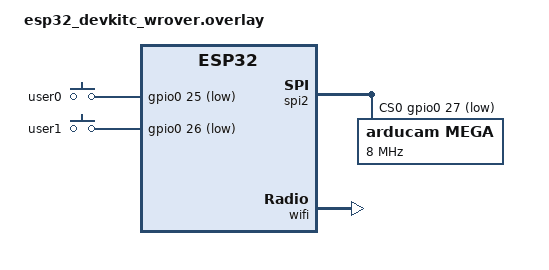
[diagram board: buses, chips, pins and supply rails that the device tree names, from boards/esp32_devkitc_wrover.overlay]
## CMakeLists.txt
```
# Copyright (c) 2022-2023 Golioth, Inc.
# SPDX-License-Identifier: Apache-2.0

cmake_minimum_required(VERSION 3.20.0)

# Conditionally add NCS/Zephyr-specific config
set(NCS_BOARD_LIST "nrf9160dk_nrf9160_ns")

if (BOARD IN_LIST NCS_BOARD_LIST)
    list(APPEND EXTRA_CONF_FILE prj-ncs.conf)
else()
    list(APPEND EXTRA_CONF_FILE prj-zephyr.conf)
endif(BOARD IN_LIST NCS_BOARD_LIST)

find_package(Zephyr REQUIRED HINTS $ENV{ZEPHYR_BASE})

project(example_upload_image)

target_sources(app PRIVATE
    src/main.c
    src/arducam/camera.c
    src/arducam/spi_hal.c
)

# Use the external ArducamMega library with the HAL in this project
set(ARDUCAM_MEGA_DIR "${CMAKE_CURRENT_LIST_DIR}/../deps/modules/lib/arducam-mega")
target_sources(app PRIVATE ${ARDUCAM_MEGA_DIR}/src/Arducam/ArducamCamera.c)
set_source_files_properties(${ARDUCAM_MEGA_DIR}/src/Arducam/ArducamCamera.c
                            PROPERTIES
                            COMPILE_FLAGS "-include ${CMAKE_SOURCE_DIR}/src/arducam/zephyrHal.h")
include_directories(${ARDUCAM_MEGA_DIR}/src)
```

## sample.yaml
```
# Copyright (c) 2024 Golioth, Inc.
# SPDX-License-Identifier: Apache-2.0

sample:
  description: Golioth Example Upload Image
  name: example_upload_image
common:
  harness: net
  platform_allow: >
    nrf9160dk_nrf9160_ns
  tags: golioth
```

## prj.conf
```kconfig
# Copyright (c) 2024 Golioth, Inc.
# SPDX-License-Identifier: Apache-2.0

# Enable Golioth Firmware SDK
CONFIG_GOLIOTH_FIRMWARE_SDK=y

# Golioth services used in this app
CONFIG_GOLIOTH_FW_UPDATE=y
CONFIG_GOLIOTH_RPC=y
CONFIG_GOLIOTH_SETTINGS=y
CONFIG_GOLIOTH_STREAM=y
CONFIG_LOG_BACKEND_GOLIOTH=y

# Enable common sample library
CONFIG_GOLIOTH_SAMPLE_COMMON=y

# Configure Golioth SDK dependencies
CONFIG_EVENTFD_MAX=14
CONFIG_LOG_PROCESS_THREAD_STACK_SIZE=1536
CONFIG_MBEDTLS_ENABLE_HEAP=y
CONFIG_MBEDTLS_HEAP_SIZE=10240

CONFIG_NETWORKING=y
CONFIG_NET_IPV4=y
CONFIG_POSIX_MAX_FDS=23

# Application
CONFIG_MAIN_STACK_SIZE=2048
CONFIG_SYSTEM_WORKQUEUE_STACK_SIZE=2048
CONFIG_NET_LOG=y
CONFIG_NET_SHELL=y
CONFIG_REBOOT=y

# Flash memory (etc.) for firmware upgrade
CONFIG_FLASH=y
CONFIG_FLASH_MAP=y
CONFIG_NVS=y
CONFIG_STREAM_FLASH=y
CONFIG_IMG_MANAGER=y
CONFIG_IMG_ERASE_PROGRESSIVELY=y
CONFIG_REBOOT=y

# The rest of the runtime credentials config
CONFIG_SETTINGS=y
CONFIG_SETTINGS_RUNTIME=y
CONFIG_GOLIOTH_SAMPLE_PSK_SETTINGS=y
CONFIG_GOLIOTH_SAMPLE_SETTINGS_AUTOLOAD=y
CONFIG_GOLIOTH_SAMPLE_SETTINGS_SHELL=y

# Enable SPI for camera
CONFIG_SPI=y

# Firmware version used in DFU process
CONFIG_MCUBOOT_IMGTOOL_SIGN_VERSION="0.1.0"
```

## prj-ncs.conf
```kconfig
# Golioth Firmware SDK config unique to NCS (not in Zephyr)

CONFIG_MBEDTLS_SSL_IN_CONTENT_LEN=2048
CONFIG_MBEDTLS_SSL_OUT_CONTENT_LEN=2048
```

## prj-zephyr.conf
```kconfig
# Golioth Firmware SDK config unique to Zephyr (not in NCS)

CONFIG_MBEDTLS_SSL_MAX_CONTENT_LEN=2048
```

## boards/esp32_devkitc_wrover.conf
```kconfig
CONFIG_WIFI=y
CONFIG_HEAP_MEM_POOL_SIZE=51200

CONFIG_NET_L2_ETHERNET=y

CONFIG_NEWLIB_LIBC=y

CONFIG_NET_DHCPV4=y

CONFIG_MBEDTLS_ENTROPY_ENABLED=y
CONFIG_MBEDTLS_KEY_EXCHANGE_ECDHE_ECDSA_ENABLED=y
CONFIG_MBEDTLS_ECP_ALL_ENABLED=y

CONFIG_ESP32_WIFI_STA_AUTO_DHCPV4=y

CONFIG_NET_L2_WIFI_SHELL=y
CONFIG_GOLIOTH_SAMPLE_WIFI=y

# Runtime credentials for WiFi
CONFIG_GOLIOTH_SAMPLE_WIFI_SETTINGS=y
```

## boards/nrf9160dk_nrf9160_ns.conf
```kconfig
# Copyright (c) 2023 Golioth, Inc.
# SPDX-License-Identifier: Apache-2.0

# General config
CONFIG_HEAP_MEM_POOL_SIZE=4096
CONFIG_NEWLIB_LIBC=y

# Networking
CONFIG_NET_SOCKETS_OFFLOAD=y
CONFIG_NET_IPV6=y
CONFIG_NET_IPV6_NBR_CACHE=n
CONFIG_NET_IPV6_MLD=n

# Increase native TLS socket implementation, so that it is chosen instead of
# offloaded nRF91 sockets
CONFIG_NET_SOCKETS_TLS_PRIORITY=35

# Modem library
CONFIG_NRF_MODEM_LIB=y
CONFIG_NRF_MODEM_LIB_ON_FAULT_APPLICATION_SPECIFIC=y

# LTE connectivity with network connection manager
CONFIG_LTE_CONNECTIVITY=y
CONFIG_LTE_CONNECTIVITY_AUTO_CONNECT=y
CONFIG_NET_CONNECTION_MANAGER=y
CONFIG_NET_CONNECTION_MANAGER_MONITOR_STACK_SIZE=1024

# Add Logs for LTE Link Handler
CONFIG_GOLIOTH_SAMPLE_NRF91_LTE_MONITOR=y

# Disable options y-selected by NCS for no good reason
CONFIG_MBEDTLS_KEY_EXCHANGE_DHE_PSK_ENABLED=n
CONFIG_MBEDTLS_KEY_EXCHANGE_DHE_RSA_ENABLED=n

# Add Network Info Support
CONFIG_MODEM_INFO=y

# Generate MCUboot compatible images
CONFIG_BOOTLOADER_MCUBOOT=y
```

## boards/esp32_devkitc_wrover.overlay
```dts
/*
 * Copyright (c) 2024 Golioth, Inc.
 *
 * SPDX-License-Identifier: Apache-2.0
 */

/ {
  aliases {
    sw0 = &user0;
    sw1 = &user1;
  };

  gpio_keys {
    compatible = "gpio-keys";
    user0: user0 {
      gpios = <&gpio0 25 (GPIO_PULL_UP | GPIO_ACTIVE_LOW)>;
    };
    user1: user1 {
      gpios = <&gpio0 26 (GPIO_PULL_UP | GPIO_ACTIVE_LOW)>;
    };
  };
};

&spi2 {
  status = "okay";
  cs-gpios = <&gpio0 27 GPIO_ACTIVE_LOW>;
  arducam: arducam@0 {
    compatible = "arducam,mega";
    reg = <0>;
    spi-max-frequency = <8000000>;
  };
};

&wifi {
  status = "okay";
};

&pinctrl {
  /* We must remove the CS pin so the the ESP32 hardware doesn't
   * drive it, overriding the library control
   */
  spim2_default: spim2_default {
    group1 {
      pinmux = <SPIM2_MISO_GPIO12>, <SPIM2_SCLK_GPIO14>;
    };
    group2 {
      pinmux = <SPIM2_MOSI_GPIO13>;
      output-low;
    };
  };
};
```

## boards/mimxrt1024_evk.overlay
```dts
/*
 * Copyright (c) 2024 Golioth, Inc.
 *
 * SPDX-License-Identifier: Apache-2.0
 */

/ {
  aliases {
    sw1 = &user1;
  };

  gpio_keys {
    compatible = "gpio-keys";
    user1: user1 {
      gpios = <&gpio1 26 (GPIO_PULL_UP | GPIO_ACTIVE_LOW)>;
    };
  };
};

&lpspi3 {
  status = "okay";

  pinctrl-0 = < &pinmux_lpspi3 >;
  pinctrl-names = "default";
  cs-gpios = <&gpio1 29 GPIO_ACTIVE_LOW>;

  arducam: arducam@0 {
    compatible = "arducam,mega";
    reg = <0>;
    spi-max-frequency = <8000000>;
  };
};

&pinctrl {
  pinmux_lpspi3: pinmux_lpspi3 {
    group0 {
      pinmux = <&iomuxc_gpio_ad_b1_12_lpspi3_sck>,
        <&iomuxc_gpio_ad_b1_13_lpspi3_pcs0>,
        <&iomuxc_gpio_ad_b1_14_lpspi3_sdo>,
        <&iomuxc_gpio_ad_b1_15_lpspi3_sdi>;
      drive-strength = "r0-6";
      slew-rate = "slow";
      nxp,speed = "100-mhz";
    };
  };
};
```

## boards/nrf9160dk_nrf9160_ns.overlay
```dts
/*
 * Copyright (c) 2024 Golioth, Inc.
 *
 * SPDX-License-Identifier: Apache-2.0
 */

&arduino_spi {
	status = "okay";

        arducam: arducam@0 {
                compatible = "arducam,mega";
                reg = <0>;
                spi-max-frequency = <1600000>;
        };
};
```

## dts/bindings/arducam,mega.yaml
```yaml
# Copyright (c) 2024 Golioth, Inc.
# SPDX-License-Identifier: Apache-2.0

description: |
  The Arducam Mega is a digital camera with an SPI interface.

  Add the Arducam as a subnode of an SPI peripheral:

  &spi2 {
    status = "okay";
    cs-gpios = <&gpio0 15 GPIO_ACTIVE_HIGH>;
    arducam: arducam@0 {
      compatible = "arducam,mega";
      reg = <0>;
      spi-max-frequency = <8000000>;
    };
  };

  Above:

  - A Chip-select pin has been specified for spi2 using the
    cs-gpios property. The cs-gpio may be omitted if it is
    already set in the board definition.

  Note:

  - The library controls the CS pin. For boards that have
    hardware-controlled chip-select it is necessary to remove
    the hardware-based CS assignment using pinctrl. The ESP32
    is one example of this.

compatible: "arducam,mega"

include: [spi-device.yaml]
```

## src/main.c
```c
/*
 * Copyright (c) 2022-2023 Golioth, Inc.
 *
 * SPDX-License-Identifier: Apache-2.0
 */

#include <zephyr/logging/log.h>
LOG_MODULE_REGISTER(example_upload_image, LOG_LEVEL_DBG);

#include <golioth/client.h>
#include <golioth/fw_update.h>
#include <golioth/rpc.h>
#include <golioth/settings.h>
#include <golioth/stream.h>
#include <samples/common/net_connect.h>
#include <samples/common/sample_credentials.h>
#include <zephyr/kernel.h>
#include <zephyr/device.h>
#include <zephyr/drivers/gpio.h>

#include "fables.h"
#include "arducam/camera.h"

/* Current firmware version; update in prj.conf or via build argument */
static const char *_current_version = CONFIG_MCUBOOT_IMGTOOL_SIGN_VERSION;

static struct golioth_client *client;

/* Program flow control */
static k_tid_t _system_thread = 0;
static volatile bool allow_trigger = false;
K_SEM_DEFINE(connected, 0, 1);

K_SEM_DEFINE(image_upload, 0, 1);
K_SEM_DEFINE(text_upload, 0, 1);

struct k_poll_event events[] = {
    K_POLL_EVENT_STATIC_INITIALIZER(K_POLL_TYPE_SEM_AVAILABLE,
                                    K_POLL_MODE_NOTIFY_ONLY,
                                    &image_upload,
                                    0),
    K_POLL_EVENT_STATIC_INITIALIZER(K_POLL_TYPE_SEM_AVAILABLE,
                                    K_POLL_MODE_NOTIFY_ONLY,
                                    &text_upload,
                                    0),
};

/* Device Settings Configuration */
static int32_t _loop_delay_s = 5;
#define LOOP_DELAY_S_MAX 43200
#define LOOP_DELAY_S_MIN 0

/* Button Configuration */
static const struct gpio_dt_spec btn1 = GPIO_DT_SPEC_GET(DT_ALIAS(sw0), gpios);
static const struct gpio_dt_spec btn2 = GPIO_DT_SPEC_GET(DT_ALIAS(sw1), gpios);
static struct gpio_callback btn1_cb_data;
static struct gpio_callback btn2_cb_data;

struct block_upload_source
{
    uint8_t *buf;
    size_t len;
};

static void wake_system_thread(void)
{
    k_wakeup(_system_thread);
}

static void on_client_event(struct golioth_client *client,
                            enum golioth_client_event event,
                            void *arg)
{
    bool is_connected = (event == GOLIOTH_CLIENT_EVENT_CONNECTED);

    if (is_connected)
    {
        k_sem_give(&connected);
    }
    LOG_INF("Golioth client %s", is_connected ? "connected" : "disconnected");
}

static enum golioth_settings_status on_loop_delay_setting(int32_t new_value, void *arg)
{
    _loop_delay_s = new_value;
    LOG_INF("Set loop delay to %i seconds", new_value);
    wake_system_thread();
    return GOLIOTH_SETTINGS_SUCCESS;
}

static int app_settings_register(struct golioth_client *client)
{
    struct golioth_settings *settings = golioth_settings_init(client);

    int err = golioth_settings_register_int_with_range(settings,
                                                       "LOOP_DELAY_S",
                                                       LOOP_DELAY_S_MIN,
                                                       LOOP_DELAY_S_MAX,
                                                       on_loop_delay_setting,
                                                       NULL);

    if (err)
    {
        LOG_ERR("Failed to register settings callback: %d", err);
    }

    return err;
}

/* Callback invoked by the Golioth SDK to read the next block of data
   data to send to Golioth */
static enum golioth_status block_upload_read_chunk(uint32_t block_idx,
                                                   uint8_t *block_buffer,
                                                   size_t *block_size,
                                                   bool *is_last,
                                                   void *arg)
{
    size_t bu_max_block_size = *block_size;
    const struct block_upload_source *bu_source = arg;
    size_t bu_offset = block_idx * bu_max_block_size;
    size_t bu_size = bu_source->len - bu_offset;

    LOG_DBG("block-idx: %u bu_offset: %u bytes_remaining: %u", block_idx, bu_offset, bu_size);

    if (bu_offset >= bu_source->len)
    {
        LOG_ERR("Calculated offset is past end of buffer: %d", bu_offset);
        goto bu_error;
    }

    if (bu_size < 0)
    {
        LOG_ERR("Calculated size for next block is < 0: %d", bu_size);
        goto bu_error;
    }

    if (bu_size <= bu_max_block_size)
    {
        *block_size = bu_size;
        *is_last = true;
    }

    memcpy(block_buffer, bu_source->buf + bu_offset, *block_size);
    return GOLIOTH_OK;

bu_error:
    *block_size = 0;
    *is_last = true;

    return GOLIOTH_ERR_NO_MORE_DATA;
}

static int upload_txt_file(void)
{
    /* Test function that uses block upload with a .txt file */
    struct block_upload_source bu_ctx = {.buf = (uint8_t *) &fables, .len = fables_len};

    int err = golioth_stream_set_blockwise_sync(client,
                                                "file_upload",
                                                GOLIOTH_CONTENT_TYPE_OCTET_STREAM,
                                                block_upload_read_chunk,
                                                &bu_ctx);

    return err;
}

void button_pressed(const struct device *dev, struct gpio_callback *cb, uint32_t pins)
{

    if (allow_trigger)
    {
        allow_trigger = false;
        LOG_DBG("Button %d pressed at %" PRIu32, pins, k_cycle_get_32());

        if (cb == &btn1_cb_data)
        {
            k_sem_give(&image_upload);
        }
        else if (cb == &btn2_cb_data)
        {
            k_sem_give(&text_upload);
        }
    }
}

void init_buttons(void)
{
    int ret;

    LOG_INF("Setup buttons");

    const struct gpio_dt_spec *button[] = {&btn1, &btn2};

    for (uint8_t i = 0; i < ARRAY_SIZE(button); i++)
    {
        if (!gpio_is_ready_dt(button[i]))
        {
            LOG_ERR("Error: button device %s is not ready", button[i]->port->name);
            continue;
        }

        ret = gpio_pin_configure_dt(button[i], GPIO_INPUT);
        if (ret != 0)
        {
            LOG_ERR("Error %d: failed to configure %s pin %d",
                    ret,
                    button[i]->port->name,
                    button[i]->pin);
            continue;
        }

        ret = gpio_pin_interrupt_configure_dt(button[i], GPIO_INT_EDGE_TO_ACTIVE);
        if (ret != 0)
        {
            LOG_ERR("Error %d: failed to configure interrupt on %s pin %d",
                    ret,
                    button[i]->port->name,
                    button[i]->pin);
            continue;
        }

        LOG_INF("Set up button at %s pin %d", button[i]->port->name, button[i]->pin);
    }

    gpio_init_callback(&btn1_cb_data, button_pressed, BIT(btn1.pin));
    gpio_init_callback(&btn2_cb_data, button_pressed, BIT(btn2.pin));
    gpio_add_callback(btn1.port, &btn1_cb_data);
    gpio_add_callback(btn2.port, &btn2_cb_data);
}

static enum golioth_rpc_status on_capture_image(zcbor_state_t *request_params_array,
                                                zcbor_state_t *response_detail_map,
                                                void *callback_arg)
{

    if (allow_trigger)
    {
        allow_trigger = false;
        k_sem_give(&image_upload);
        return GOLIOTH_RPC_OK;
    }

    return GOLIOTH_ERR_TIMEOUT;
}

enum golioth_status block_upload_camera_image_cb(uint32_t block_idx,
                                                 uint8_t *block_buffer,
                                                 size_t *block_size,
                                                 bool *is_last,
                                                 void *arg)
{
    int err = 0;

    if (!arg)
    {
        LOG_ERR("arg was NULL but should have been pointer to camera_module struct");
        err = -EAGAIN;
        goto error_camera_block_upload;
    }

    size_t bytes_remaining;
    err = camera_get_next_block(arg, block_buffer, block_size, is_last, &bytes_remaining);

    if (err)
    {
        goto error_camera_block_upload;
    }

    if ((*block_size == 0) && (!*is_last))
    {

        LOG_ERR("Received 0 bytes from camera but block is not marked as last.");
        err = -ENODATA;
        goto error_camera_block_upload;
    }

    LOG_DBG("Uploading block_id: %u block_size: %u is_last: %d Bytes remaining: %u",
            block_idx,
            *block_size,
            *is_last,
            bytes_remaining);

    return 0;

error_camera_block_upload:
    *block_size = 0;
    *is_last = 1;
    return err;
}

int main(void)
{
    LOG_DBG("Start Golioth example_upload_image");
    LOG_INF("Firmware version: %s", CONFIG_MCUBOOT_IMGTOOL_SIGN_VERSION);

    LOG_DBG("Initializing camera...");
    struct camera_module *cam_mod = camera_init();
    if (!cam_mod)
    {
        LOG_ERR("Camera init failed.");
        return -ENODEV;
    }
    else
    {
        LOG_DBG("Camera init complete!");
    }

    /* Setup buttons */
    init_buttons();

    /* Get system thread id so loop delay change event can wake main */
    _system_thread = k_current_get();

    /* Start the network connection */
    net_connect();

    /* Get the client configuration from auto-loaded settings */
    const struct golioth_client_config *client_config = golioth_sample_credentials_get();

    /* Create and start a Golioth Client */
    client = golioth_client_create(client_config);

    /* Register Golioth event callback */
    golioth_client_register_event_callback(client, on_client_event, NULL);

    /* Initialize Golioth OTA firmware update service */
    golioth_fw_update_init(client, _current_version);

    /* Register Golioth RPC */
    struct golioth_rpc *rpc = golioth_rpc_init(client);
    golioth_rpc_register(rpc, "capture_image", on_capture_image, NULL);

    /* Register Golioth Settings service */
    app_settings_register(client);

    /* Block until connected to Golioth */
    k_sem_take(&connected, K_FOREVER);
    k_msleep(2000); /* allow connection logs to display */

    int err;
    allow_trigger = true;
    LOG_INF("###############################################");
    LOG_INF("# Press button 1 to capture and upload image. #");
    LOG_INF("###############################################");

    while (true)
    {
        int rc = k_poll(events, ARRAY_SIZE(events), K_FOREVER);

        if (rc == 0)
        {
            if (events[0].state == K_POLL_STATE_SEM_AVAILABLE)
            {
                k_sem_take(events[0].sem, K_NO_WAIT);

                camera_capture_image(cam_mod);
                err = golioth_stream_set_blockwise_sync(client,
                                                        "file_upload",
                                                        GOLIOTH_CONTENT_TYPE_OCTET_STREAM,
                                                        block_upload_camera_image_cb,
                                                        (void *) cam_mod);
                if (!err)
                {
                    LOG_INF("Image upload successful!");
                }
            }

            if (events[1].state == K_POLL_STATE_SEM_AVAILABLE)
            {
                k_sem_take(events[1].sem, K_NO_WAIT);

                err = upload_txt_file();
                if (err)
                {
                    LOG_ERR("Error during block upload: %d", err);
                }
                else
                {
                    LOG_INF("Block upload successful!");
                }
            }

            events[0].state = K_POLL_STATE_NOT_READY;
            events[1].state = K_POLL_STATE_NOT_READY;
            allow_trigger = true;
            LOG_INF("Press button 1 to capture and upload image.");
        }
    }
}
```

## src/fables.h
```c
unsigned char fables[] = {
  0x54, 0x68, 0x65, 0x20, 0x4c, 0x69, 0x6f, 0x6e, 0x20, 0x61, 0x6e, 0x64,
  0x20, 0x74, 0x68, 0x65, 0x20, 0x4d, 0x6f, 0x75, 0x73, 0x65, 0x0a, 0x62,
  0x79, 0x20, 0x41, 0x65, 0x73, 0x6f, 0x70, 0x0a, 0x0a, 0x41, 0x20, 0x4c,
  0x69, 0x6f, 0x6e, 0x20, 0x61, 0x73, 0x6c, 0x65, 0x65, 0x70, 0x20, 0x69,
  0x6e, 0x20, 0x68, 0x69, 0x73, 0x20, 0x6c, 0x61, 0x69, 0x72, 0x20, 0x77,
  0x61, 0x73, 0x20, 0x77, 0x61, 0x6b, 0x65, 0x64, 0x20, 0x75, 0x70, 0x20,
  0x62, 0x79, 0x20, 0x61, 0x20, 0x4d, 0x6f, 0x75, 0x73, 0x65, 0x20, 0x72,
  0x75, 0x6e, 0x6e, 0x69, 0x6e, 0x67, 0x20, 0x6f, 0x76, 0x65, 0x72, 0x20,
  0x68, 0x69, 0x73, 0x20, 0x66, 0x61, 0x63, 0x65, 0x2e, 0x20, 0x4c, 0x6f,
  0x73, 0x69, 0x6e, 0x67, 0x20, 0x68, 0x69, 0x73, 0x20, 0x74, 0x65, 0x6d,
  0x70, 0x65, 0x72, 0x20, 0x68, 0x65, 0x20, 0x73, 0x65, 0x69, 0x7a, 0x65,
  0x64, 0x20, 0x69, 0x74, 0x20, 0x77, 0x69, 0x74, 0x68, 0x20, 0x68, 0x69,
  0x73, 0x20, 0x70, 0x61, 0x77, 0x20, 0x61, 0x6e, 0x64, 0x20, 0x77, 0x61,
  0x73, 0x20, 0x61, 0x62, 0x6f, 0x75, 0x74, 0x20, 0x74, 0x6f, 0x20, 0x6b,
  0x69, 0x6c, 0x6c, 0x20, 0x69, 0x74, 0x2e, 0x20, 0x54, 0x68, 0x65, 0x20,
  0x4d, 0x6f, 0x75, 0x73, 0x65, 0x2c, 0x20, 0x74, 0x65, 0x72, 0x72, 0x69,
  0x66, 0x69, 0x65, 0x64, 0x2c, 0x20, 0x70, 0x69, 0x74, 0x65, 0x6f, 0x75,
  0x73, 0x6c, 0x79, 0x20, 0x65, 0x6e, 0x74, 0x72, 0x65, 0x61, 0x74, 0x65,
  0x64, 0x20, 0x68, 0x69, 0x6d, 0x20, 0x74, 0x6f, 0x20, 0x73, 0x70, 0x61,
  0x72, 0x65, 0x20, 0x69, 0x74, 0x73, 0x20, 0x6c, 0x69, 0x66, 0x65, 0x2e,
  0x20, 0xe2, 0x80, 0x9c, 0x50, 0x6c, 0x65, 0x61, 0x73, 0x65, 0x20, 0x6c,
  0x65, 0x74, 0x20, 0x6d, 0x65, 0x20, 0x67, 0x6f, 0x2c, 0xe2, 0x80, 0x9d,
  0x20, 0x69, 0x74, 0x20, 0x63, 0x72, 0x69, 0x65, 0x64, 0x2c, 0x20, 0xe2,
  0x80, 0x9c, 0x61, 0x6e, 0x64, 0x20, 0x6f, 0x6e, 0x65, 0x20, 0x64, 0x61,
  0x79, 0x20, 0x49, 0x20, 0x77, 0x69, 0x6c, 0x6c, 0x20, 0x72, 0x65, 0x70,
  0x61, 0x79, 0x20, 0x79, 0x6f, 0x75, 0x20, 0x66, 0x6f, 0x72, 0x20, 0x79,
  0x6f, 0x75, 0x72, 0x20, 0x6b, 0x69, 0x6e, 0x64, 0x6e, 0x65, 0x73, 0x73,
  0x2e, 0xe2, 0x80, 0x9d, 0x20, 0x54, 0x68, 0x65, 0x20, 0x69, 0x64, 0x65,
  0x61, 0x20, 0x6f, 0x66, 0x20, 0x73, 0x6f, 0x20, 0x69, 0x6e, 0x73, 0x69,
  0x67, 0x6e, 0x69, 0x66, 0x69, 0x63, 0x61, 0x6e, 0x74, 0x20, 0x61, 0x20,
  0x63, 0x72, 0x65, 0x61, 0x74, 0x75, 0x72, 0x65, 0x20, 0x65, 0x76, 0x65,
  0x72, 0x20, 0x62, 0x65, 0x69, 0x6e, 0x67, 0x20, 0x61, 0x62, 0x6c, 0x65,
  0x20, 0x74, 0x6f, 0x20, 0x64, 0x6f, 0x20, 0x61, 0x6e, 0x79, 0x74, 0x68,
  0x69, 0x6e, 0x67, 0x20, 0x66, 0x6f, 0x72, 0x20, 0x68, 0x69, 0x6d, 0x20,
  0x61, 0x6d, 0x75, 0x73, 0x65, 0x64, 0x20, 0x74, 0x68, 0x65, 0x20, 0x4c,
  0x69, 0x6f, 0x6e, 0x20, 0x73, 0x6f, 0x20, 0x6d, 0x75, 0x63, 0x68, 0x20,
  0x74, 0x68, 0x61, 0x74, 0x20, 0x68, 0x65, 0x20, 0x6c, 0x61, 0x75, 0x67,
  0x68, 0x65, 0x64, 0x20, 0x61, 0x6c, 0x6f, 0x75, 0x64, 0x2c, 0x20, 0x61,
  0x6e, 0x64, 0x20, 0x67, 0x6f, 0x6f, 0x64, 0x2d, 0x68, 0x75, 0x6d, 0x6f,
  0x75, 0x72, 0x65, 0x64, 0x6c, 0x79, 0x20, 0x6c, 0x65, 0x74, 0x20, 0x69,
  0x74, 0x20, 0x67, 0x6f, 0x2e, 0x20, 0x42, 0x75, 0x74, 0x20, 0x74, 0x68,
  0x65, 0x20, 0x4d, 0x6f, 0x75, 0x73, 0x65, 0xe2, 0x80, 0x99, 0x73, 0x20,
  0x63, 0x68, 0x61, 0x6e, 0x63, 0x65, 0x20, 0x63, 0x61, 0x6d, 0x65, 0x2c,
  0x20, 0x61, 0x66, 0x74, 0x65, 0x72, 0x20, 0x61, 0x6c, 0x6c, 0x2e, 0x20,
  0x4f, 0x6e, 0x65, 0x20, 0x64, 0x61, 0x79, 0x20, 0x74, 0x68, 0x65, 0x20,
  0x4c, 0x69, 0x6f, 0x6e, 0x20, 0x67, 0x6f, 0x74, 0x20, 0x65, 0x6e, 0x74,
  0x61, 0x6e, 0x67, 0x6c, 0x65, 0x64, 0x20, 0x69, 0x6e, 0x20, 0x61, 0x20,
  0x6e, 0x65, 0x74, 0x20, 0x77, 0x68, 0x69, 0x63, 0x68, 0x20, 0x68, 0x61,
  0x64, 0x20, 0x62, 0x65, 0x65, 0x6e, 0x20, 0x73, 0x70, 0x72, 0x65, 0x61,
  0x64, 0x20, 0x66, 0x6f, 0x72, 0x20, 0x67, 0x61, 0x6d, 0x65, 0x20, 0x62,
  0x79, 0x20, 0x73, 0x6f, 0x6d, 0x65, 0x20, 0x68, 0x75, 0x6e, 0x74, 0x65,
  0x72, 0x73, 0x2c, 0x20, 0x61, 0x6e, 0x64, 0x20, 0x74, 0x68, 0x65, 0x20,
  0x4d, 0x6f, 0x75, 0x73, 0x65, 0x20, 0x68, 0x65, 0x61, 0x72, 0x64, 0x20,
  0x61, 0x6e, 0x64, 0x20, 0x72, 0x65, 0x63, 0x6f, 0x67, 0x6e, 0x69, 0x73,
  0x65, 0x64, 0x20, 0x68, 0x69, 0x73, 0x20, 0x72, 0x6f, 0x61, 0x72, 0x73,
  0x20, 0x6f, 0x66, 0x20, 0x61, 0x6e, 0x67, 0x65, 0x72, 0x20, 0x61, 0x6e,
  0x64, 0x20, 0x72, 0x61, 0x6e, 0x20, 0x74, 0x6f, 0x20, 0x74, 0x68, 0x65,
  0x20, 0x73, 0x70, 0x6f, 0x74, 0x2e, 0x20, 0x57, 0x69, 0x74, 0x68, 0x6f,
  0x75, 0x74, 0x20, 0x6d, 0x6f, 0x72, 0x65, 0x20, 0x61, 0x64, 0x6f, 0x20,
  0x69, 0x74, 0x20, 0x73, 0x65, 0x74, 0x20, 0x74, 0x6f, 0x20, 0x77, 0x6f,
  0x72, 0x6b, 0x20, 0x74, 0x6f, 0x20, 0x67, 0x6e, 0x61, 0x77, 0x20, 0x74,
  0x68, 0x65, 0x20, 0x72, 0x6f, 0x70, 0x65, 0x73, 0x20, 0x77, 0x69, 0x74,
  0x68, 0x20, 0x69, 0x74, 0x73, 0x20, 0x74, 0x65, 0x65, 0x74, 0x68, 0x2c,
  0x20, 0x61, 0x6e, 0x64, 0x20, 0x73, 0x75, 0x63, 0x63, 0x65, 0x65, 0x64,
  0x65, 0x64, 0x20, 0x62, 0x65, 0x66, 0x6f, 0x72, 0x65, 0x20, 0x6c, 0x6f,
  0x6e, 0x67, 0x20, 0x69, 0x6e, 0x20, 0x73, 0x65, 0x74, 0x74, 0x69, 0x6e,
  0x67, 0x20, 0x74, 0x68, 0x65, 0x20, 0x4c, 0x69, 0x6f, 0x6e, 0x20, 0x66,
  0x72, 0x65, 0x65, 0x2e, 0x20, 0xe2, 0x80, 0x9c, 0x54, 0x68, 0x65, 0x72,
  0x65, 0x21, 0xe2, 0x80, 0x9d, 0x20, 0x73, 0x61, 0x69, 0x64, 0x20, 0x74,
  0x68, 0x65, 0x20, 0x4d, 0x6f, 0x75, 0x73, 0x65, 0x2c, 0x20, 0xe2, 0x80,
  0x9c, 0x79, 0x6f, 0x75, 0x20, 0x6c, 0x61, 0x75, 0x67, 0x68, 0x65, 0x64,
  0x20, 0x61, 0x74, 0x20, 0x6d, 0x65, 0x20, 0x77, 0x68, 0x65, 0x6e, 0x20,
  0x49, 0x20, 0x70, 0x72, 0x6f, 0x6d, 0x69, 0x73, 0x65, 0x64, 0x20, 0x49,
  0x20, 0x77, 0x6f, 0x75, 0x6c, 0x64, 0x20, 0x72, 0x65, 0x70, 0x61, 0x79,
  0x20, 0x79, 0x6f, 0x75, 0x3a, 0x20, 0x62, 0x75, 0x74, 0x20, 0x6e, 0x6f,
  0x77, 0x20, 0x79, 0x6f, 0x75, 0x20, 0x73, 0x65, 0x65, 0x2c, 0x20, 0x65,
  0x76, 0x65, 0x6e, 0x20, 0x61, 0x20, 0x4d, 0x6f, 0x75, 0x73, 0x65, 0x20,
  0x63, 0x61, 0x6e, 0x20, 0x68, 0x65, 0x6c, 0x70, 0x20, 0x61, 0x20, 0x4c,
  0x69, 0x6f, 0x6e, 0x2e, 0xe2, 0x80, 0x9d, 0x0a, 0x0a, 0x54, 0x68, 0x65,
  0x20, 0x4e, 0x6f, 0x72, 0x74, 0x68, 0x20, 0x57, 0x69, 0x6e, 0x64, 0x20,
  0x61, 0x6e, 0x64, 0x20, 0x74, 0x68, 0x65, 0x20, 0x53, 0x75, 0x6e, 0x0a,
  0x62, 0x79, 0x20, 0x41, 0x65, 0x73, 0x6f, 0x70, 0x0a, 0x0a, 0x41, 0x20,
  0x64, 0x69, 0x73, 0x70, 0x75, 0x74, 0x65, 0x20, 0x61, 0x72, 0x6f, 0x73,
  0x65, 0x20, 0x62, 0x65, 0x74, 0x77, 0x65, 0x65, 0x6e, 0x20, 0x74, 0x68,
  0x65, 0x20, 0x4e, 0x6f, 0x72, 0x74, 0x68, 0x20, 0x57, 0x69, 0x6e, 0x64,
  0x20, 0x61, 0x6e, 0x64, 0x20, 0x74, 0x68, 0x65, 0x20, 0x53, 0x75, 0x6e,
  0x2c, 0x20, 0x65, 0x61, 0x63, 0x68, 0x20, 0x63, 0x6c, 0x61, 0x69, 0x6d,
  0x69, 0x6e, 0x67, 0x20, 0x74, 0x68, 0x61, 0x74, 0x20, 0x68, 0x65, 0x20,
  0x77, 0x61, 0x73, 0x20, 0x73, 0x74, 0x72, 0x6f, 0x6e, 0x67, 0x65, 0x72,
  0x20, 0x74, 0x68, 0x61, 0x6e, 0x20, 0x74, 0x68, 0x65, 0x20, 0x6f, 0x74,
  0x68, 0x65, 0x72, 0x2e, 0x20, 0x41, 0x74, 0x20, 0x6c, 0x61, 0x73, 0x74,
  0x20, 0x74, 0x68, 0x65, 0x79, 0x20, 0x61, 0x67, 0x72, 0x65, 0x65, 0x64,
  0x20, 0x74, 0x6f, 0x20, 0x74, 0x72, 0x79, 0x20, 0x74, 0x68, 0x65, 0x69,
  0x72, 0x20, 0x70, 0x6f, 0x77, 0x65, 0x72, 0x73, 0x20, 0x75, 0x70, 0x6f,
  0x6e, 0x20, 0x61, 0x20, 0x74, 0x72, 0x61, 0x76, 0x65, 0x6c, 0x6c, 0x65,
  0x72, 0x2c, 0x20, 0x74, 0x6f, 0x20, 0x73, 0x65, 0x65, 0x20, 0x77, 0x68,
  0x69, 0x63, 0x68, 0x20, 0x63, 0x6f, 0x75, 0x6c, 0x64, 0x20, 0x73, 0x6f,
  0x6f, 0x6e, 0x65, 0x73, 0x74, 0x20, 0x73, 0x74, 0x72, 0x69, 0x70, 0x20,
  0x68, 0x69, 0x6d, 0x20, 0x6f, 0x66, 0x20, 0x68, 0x69, 0x73, 0x20, 0x63,
  0x6c, 0x6f, 0x61, 0x6b, 0x2e, 0x20, 0x54, 0x68, 0x65, 0x20, 0x4e, 0x6f,
  0x72, 0x74, 0x68, 0x20, 0x57, 0x69, 0x6e, 0x64, 0x20, 0x68, 0x61, 0x64,
  0x20, 0x74, 0x68, 0x65, 0x20, 0x66, 0x69, 0x72, 0x73, 0x74, 0x20, 0x74,
  0x72, 0x79, 0x3b, 0x20, 0x61, 0x6e, 0x64, 0x2c, 0x20, 0x67, 0x61, 0x74,
  0x68, 0x65, 0x72, 0x69, 0x6e, 0x67, 0x20, 0x75, 0x70, 0x20, 0x61, 0x6c,
  0x6c, 0x20, 0x68, 0x69, 0x73, 0x20, 0x66, 0x6f, 0x72, 0x63, 0x65, 0x20,
  0x66, 0x6f, 0x72, 0x20, 0x74, 0x68, 0x65, 0x20, 0x61, 0x74, 0x74, 0x61,
  0x63, 0x6b, 0x2c, 0x20, 0x68, 0x65, 0x20, 0x63, 0x61, 0x6d, 0x65, 0x20,
  0x77, 0x68, 0x69, 0x72, 0x6c, 0x69, 0x6e, 0x67, 0x20, 0x66, 0x75, 0x72,
  0x69, 0x6f, 0x75, 0x73, 0x6c, 0x79, 0x20, 0x64, 0x6f, 0x77, 0x6e, 0x20,
  0x75, 0x70, 0x6f, 0x6e, 0x20, 0x74, 0x68, 0x65, 0x20, 0x6d, 0x61, 0x6e,
  0x2c, 0x20, 0x61, 0x6e, 0x64, 0x20, 0x63, 0x61, 0x75, 0x67, 0x68, 0x74,
  0x20, 0x75, 0x70, 0x20, 0x68, 0x69, 0x73, 0x20, 0x63, 0x6c, 0x6f, 0x61,
  0x6b, 0x20, 0x61, 0x73, 0x20, 0x74, 0x68, 0x6f, 0x75, 0x67, 0x68, 0x20,
  0x68, 0x65, 0x20, 0x77, 0x6f, 0x75, 0x6c, 0x64, 0x20, 0x77, 0x72, 0x65,
  0x73, 0x74, 0x20, 0x69, 0x74, 0x20, 0x66, 0x72, 0x6f, 0x6d, 0x20, 0x68,
  0x69, 0x6d, 0x20, 0x62, 0x79, 0x20, 0x6f, 0x6e, 0x65, 0x20, 0x73, 0x69,
  0x6e, 0x67, 0x6c, 0x65, 0x20, 0x65, 0x66, 0x66, 0x6f, 0x72, 0x74, 0x3a,
  0x20, 0x62, 0x75, 0x74, 0x20, 0x74, 0x68, 0x65, 0x20, 0x68, 0x61, 0x72,
  0x64, 0x65, 0x72, 0x20, 0x68, 0x65, 0x20, 0x62, 0x6c, 0x65, 0x77, 0x2c,
  0x20, 0x74, 0x68, 0x65, 0x20, 0x6d, 0x6f, 0x72, 0x65, 0x20, 0x63, 0x6c,
  0x6f, 0x73, 0x65, 0x6c, 0x79, 0x20, 0x74, 0x68, 0x65, 0x20, 0x6d, 0x61,
  0x6e, 0x20, 0x77, 0x72, 0x61, 0x70, 0x70, 0x65, 0x64, 0x20, 0x69, 0x74,
  0x20, 0x72, 0x6f, 0x75, 0x6e, 0x64, 0x20, 0x68, 0x69, 0x6d, 0x73, 0x65,
  0x6c, 0x66, 0x2e, 0x20, 0x54, 0x68, 0x65, 0x6e, 0x20, 0x63, 0x61, 0x6d,
  0x65, 0x20, 0x74, 0x68, 0x65, 0x20, 0x74, 0x75, 0x72, 0x6e, 0x20, 0x6f,
  0x66, 0x20, 0x74, 0x68, 0x65, 0x20, 0x53, 0x75, 0x6e, 0x2e, 0x20, 0x41,
  0x74, 0x20, 0x66, 0x69, 0x72, 0x73, 0x74, 0x20, 0x68, 0x65, 0x20, 0x62,
  0x65, 0x61, 0x6d, 0x65, 0x64, 0x20, 0x67, 0x65, 0x6e, 0x74, 0x6c, 0x79,
  0x20, 0x75, 0x70, 0x6f, 0x6e, 0x20, 0x74, 0x68, 0x65, 0x20, 0x74, 0x72,
  0x61, 0x76, 0x65, 0x6c, 0x6c, 0x65, 0x72, 0x2c, 0x20, 0x77, 0x68, 0x6f,
  0x20, 0x73, 0x6f, 0x6f, 0x6e, 0x20, 0x75, 0x6e, 0x63, 0x6c, 0x61, 0x73,
  0x70, 0x65, 0x64, 0x20, 0x68, 0x69, 0x73, 0x20, 0x63, 0x6c, 0x6f, 0x61,
  0x6b, 0x20, 0x61, 0x6e, 0x64, 0x20, 0x77, 0x61, 0x6c, 0x6b, 0x65, 0x64,
  0x20, 0x6f, 0x6e, 0x20, 0x77, 0x69, 0x74, 0x68, 0x20, 0x69, 0x74, 0x20,
  0x68, 0x61, 0x6e, 0x67, 0x69, 0x6e, 0x67, 0x20, 0x6c, 0x6f, 0x6f, 0x73,
  0x65, 0x6c, 0x79, 0x20, 0x61, 0x62, 0x6f, 0x75, 0x74, 0x20, 0x68, 0x69,
  0x73, 0x20, 0x73, 0x68, 0x6f, 0x75, 0x6c, 0x64, 0x65, 0x72, 0x73, 0x3a,
  0x20, 0x74, 0x68, 0x65, 0x6e, 0x20, 0x68, 0x65, 0x20, 0x73, 0x68, 0x6f,
  0x6e, 0x65, 0x20, 0x66, 0x6f, 0x72, 0x74, 0x68, 0x20, 0x69, 0x6e, 0x20,
  0x68, 0x69, 0x73, 0x20, 0x66, 0x75, 0x6c, 0x6c, 0x20, 0x73, 0x74, 0x72,
  0x65, 0x6e, 0x67, 0x74, 0x68, 0x2c, 0x20, 0x61, 0x6e, 0x64, 0x20, 0x74,
  0x68, 0x65, 0x20, 0x6d, 0x61, 0x6e, 0x2c, 0x20, 0x62, 0x65, 0x66, 0x6f,
  0x72, 0x65, 0x20, 0x68, 0x65, 0x20, 0x68, 0x61, 0x64, 0x20, 0x67, 0x6f,
  0x6e, 0x65, 0x20, 0x6d, 0x61, 0x6e, 0x79, 0x20, 0x73, 0x74, 0x65, 0x70,
  0x73, 0x2c, 0x20, 0x77, 0x61, 0x73, 0x20, 0x67, 0x6c, 0x61, 0x64, 0x20,
  0x74, 0x6f, 0x20, 0x74, 0x68, 0x72, 0x6f, 0x77, 0x20, 0x68, 0x69, 0x73,
  0x20, 0x63, 0x6c, 0x6f, 0x61, 0x6b, 0x20, 0x72, 0x69, 0x67, 0x68, 0x74,
  0x20, 0x6f, 0x66, 0x66, 0x20, 0x61, 0x6e, 0x64, 0x20, 0x63, 0x6f, 0x6d,
  0x70, 0x6c, 0x65, 0x74, 0x65, 0x20, 0x68, 0x69, 0x73, 0x20, 0x6a, 0x6f,
  0x75, 0x72, 0x6e, 0x65, 0x79, 0x20, 0x6d, 0x6f, 0x72, 0x65, 0x20, 0x6c,
  0x69, 0x67, 0x68, 0x74, 0x6c, 0x79, 0x20, 0x63, 0x6c, 0x61, 0x64, 0x2e,
  0x0a, 0x0a, 0x54, 0x68, 0x65, 0x20, 0x46, 0x6f, 0x78, 0x20, 0x61, 0x6e,
  0x64, 0x20, 0x74, 0x68, 0x65, 0x20, 0x47, 0x72, 0x61, 0x70, 0x65, 0x73,
  0x0a, 0x62, 0x79, 0x20, 0x41, 0x65, 0x73, 0x6f, 0x70, 0x0a, 0x0a, 0x41,
  0x20, 0x68, 0x75, 0x6e, 0x67, 0x72, 0x79, 0x20, 0x46, 0x6f, 0x78, 0x20,
  0x73, 0x61, 0x77, 0x20, 0x73, 0x6f, 0x6d, 0x65, 0x20, 0x66, 0x69, 0x6e,
  0x65, 0x20, 0x62, 0x75, 0x6e, 0x63, 0x68, 0x65, 0x73, 0x20, 0x6f, 0x66,
  0x20, 0x47, 0x72, 0x61, 0x70, 0x65, 0x73, 0x20, 0x68, 0x61, 0x6e, 0x67,
  0x69, 0x6e, 0x67, 0x20, 0x66, 0x72, 0x6f, 0x6d, 0x20, 0x61, 0x20, 0x76,
  0x69, 0x6e, 0x65, 0x20, 0x74, 0x68, 0x61, 0x74, 0x20, 0x77, 0x61, 0x73,
  0x20, 0x74, 0x72, 0x61, 0x69, 0x6e, 0x65, 0x64, 0x20, 0x61, 0x6c, 0x6f,
  0x6e, 0x67, 0x20, 0x61, 0x20, 0x68, 0x69, 0x67, 0x68, 0x20, 0x74, 0x72,
  0x65, 0x6c, 0x6c, 0x69, 0x73, 0x2c, 0x20, 0x61, 0x6e, 0x64, 0x20, 0x64,
  0x69, 0x64, 0x20, 0x68, 0x69, 0x73, 0x20, 0x62, 0x65, 0x73, 0x74, 0x20,
  0x74, 0x6f, 0x20, 0x72, 0x65, 0x61, 0x63, 0x68, 0x20, 0x74, 0x68, 0x65,
  0x6d, 0x20, 0x62, 0x79, 0x20, 0x6a, 0x75, 0x6d, 0x70, 0x69, 0x6e, 0x67,
  0x20, 0x61, 0x73, 0x20, 0x68, 0x69, 0x67, 0x68, 0x20, 0x61, 0x73, 0x20,
  0x68, 0x65, 0x20, 0x63, 0x6f, 0x75, 0x6c, 0x64, 0x20, 0x69, 0x6e, 0x74,
  0x6f, 0x20, 0x74, 0x68, 0x65, 0x20, 0x61, 0x69, 0x72, 0x2e, 0x20, 0x42,
  0x75, 0x74, 0x20, 0x69, 0x74, 0x20, 0x77, 0x61, 0x73, 0x20, 0x61, 0x6c,
  0x6c, 0x20, 0x69, 0x6e, 0x20, 0x76, 0x61, 0x69, 0x6e, 0x2c, 0x20, 0x66,
  0x6f, 0x72, 0x20, 0x74, 0x68, 0x65, 0x79, 0x20, 0x77, 0x65, 0x72, 0x65,
  0x20, 0x6a, 0x75, 0x73, 0x74, 0x20, 0x6f, 0x75, 0x74, 0x20, 0x6f, 0x66,
  0x20, 0x72, 0x65, 0x61, 0x63, 0x68, 0x3a, 0x20, 0x73, 0x6f, 0x20, 0x68,
  0x65, 0x20, 0x67, 0x61, 0x76, 0x65, 0x20, 0x75, 0x70, 0x20, 0x74, 0x72,
  0x79, 0x69, 0x6e, 0x67, 0x2c, 0x20, 0x61, 0x6e, 0x64, 0x20, 0x77, 0x61,
  0x6c, 0x6b, 0x65, 0x64, 0x20, 0x61, 0x77, 0x61, 0x79, 0x20, 0x77, 0x69,
  0x74, 0x68, 0x20, 0x61, 0x6e, 0x20, 0x61, 0x69, 0x72, 0x20, 0x6f, 0x66,
  0x20, 0x64, 0x69, 0x67, 0x6e, 0x69, 0x74, 0x79, 0x20, 0x61, 0x6e, 0x64,
  0x20, 0x75, 0x6e, 0x63, 0x6f, 0x6e, 0x63, 0x65, 0x72, 0x6e, 0x2c, 0x20,
  0x72, 0x65, 0x6d, 0x61, 0x72, 0x6b, 0x69, 0x6e, 0x67, 0x2c, 0x20, 0xe2,
  0x80, 0x9c, 0x49, 0x20, 0x74, 0x68, 0x6f, 0x75, 0x67, 0x68, 0x74, 0x20,
  0x74, 0x68, 0x6f, 0x73, 0x65, 0x20, 0x47, 0x72, 0x61, 0x70, 0x65, 0x73,
  0x20, 0x77, 0x65, 0x72, 0x65, 0x20, 0x72, 0x69, 0x70, 0x65, 0x2c, 0x20,
  0x62, 0x75, 0x74, 0x20, 0x49, 0x20, 0x73, 0x65, 0x65, 0x20, 0x6e, 0x6f,
  0x77, 0x20, 0x74, 0x68, 0x65, 0x79, 0x20, 0x61, 0x72, 0x65, 0x20, 0x71,
  0x75, 0x69, 0x74, 0x65, 0x20, 0x73, 0x6f, 0x75, 0x72, 0x2e, 0xe2, 0x80,
  0x9d, 0x0a
};
unsigned int fables_len = 2246;
```
